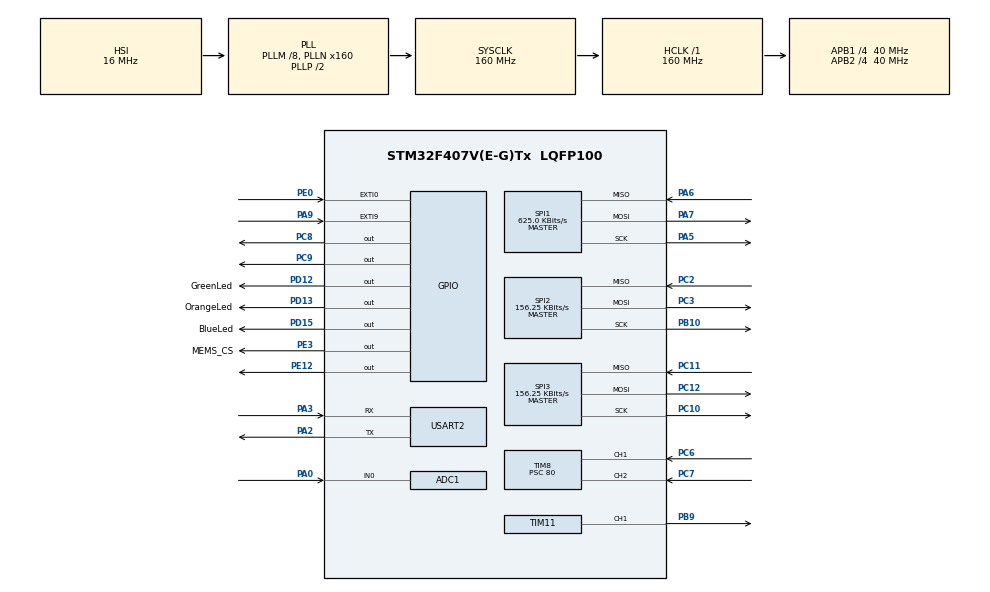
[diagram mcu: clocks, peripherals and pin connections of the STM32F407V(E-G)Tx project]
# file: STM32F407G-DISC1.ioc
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ADC1.Channel-0\#ChannelRegularConversion=ADC_CHANNEL_0
ADC1.NbrOfConversionFlag=1
ADC1.Rank-0\#ChannelRegularConversion=1
ADC1.Resolution=ADC_RESOLUTION_8B
ADC1.SamplingTime-0\#ChannelRegularConversion=ADC_SAMPLETIME_3CYCLES
ADC1.master=1
Mcu.Family=STM32F4
Mcu.Name=STM32F407V(E-G)Tx
Mcu.Package=LQFP100
NVIC.EXTI0_IRQn=true\:0\:0\:false\:false\:true\:true\:true\:true
NVIC.EXTI9_5_IRQn=true\:0\:0\:false\:false\:true\:true\:true\:true
NVIC.PriorityGroup=NVIC_PRIORITYGROUP_0
NVIC.TIM6_DAC_IRQn=true\:0\:0\:false\:false\:true\:true\:true\:true
PA0-WKUP.Signal=ADCx_IN0
PA13.Mode=Serial_Wire
PA13.Signal=SYS_JTMS-SWDIO
PA14.Mode=Serial_Wire
PA14.Signal=SYS_JTCK-SWCLK
PA2.Mode=Asynchronous
PA2.Signal=USART2_TX
PA3.Mode=Asynchronous
PA3.Signal=USART2_RX
PA5.Mode=Full_Duplex_Master
PA5.Signal=SPI1_SCK
PA6.Mode=Full_Duplex_Master
PA6.Signal=SPI1_MISO
PA7.Mode=Full_Duplex_Master
PA7.Signal=SPI1_MOSI
PA9.Signal=GPXTI9
PB10.Mode=Full_Duplex_Master
PB10.Signal=SPI2_SCK
PB9.Signal=S_TIM11_CH1
PC10.Mode=Full_Duplex_Master
PC10.Signal=SPI3_SCK
PC11.Mode=Full_Duplex_Master
PC11.Signal=SPI3_MISO
PC12.Mode=Full_Duplex_Master
PC12.Signal=SPI3_MOSI
PC2.Mode=Full_Duplex_Master
PC2.Signal=SPI2_MISO
PC3.Mode=Full_Duplex_Master
PC3.Signal=SPI2_MOSI
PC6.Signal=S_TIM8_CH1
PC7.Signal=S_TIM8_CH2
PC8.Signal=GPIO_Output
PC9.Signal=GPIO_Output
PD12.GPIO_Label=GreenLed
PD12.Signal=GPIO_Output
PD13.GPIO_Label=OrangeLed
PD13.Signal=GPIO_Output
PD15.GPIO_Label=BlueLed
PD15.Signal=GPIO_Output
PE0.Signal=GPXTI0
PE12.Signal=GPIO_Output
PE3.GPIO_Label=MEMS_CS
PE3.Signal=GPIO_Output
ProjectManager.HeapSize=0x200
ProjectManager.StackSize=0x400
ProjectManager.TargetToolchain=STM32CubeIDE
RCC.48MHZClocksFreq_Value=45714285.71428572
RCC.AHBFreq_Value=160000000
RCC.APB1CLKDivider=RCC_HCLK_DIV4
RCC.APB1Freq_Value=40000000
RCC.APB1TimFreq_Value=80000000
RCC.APB2CLKDivider=RCC_HCLK_DIV4
RCC.APB2Freq_Value=40000000
RCC.APB2TimFreq_Value=80000000
RCC.CortexFreq_Value=160000000
RCC.HCLKFreq_Value=160000000
RCC.HSE_VALUE=8000000
RCC.HSI_VALUE=16000000
RCC.LSE_VALUE=32768
RCC.PLLM=8
RCC.PLLN=160
RCC.PLLQ=7
RCC.SYSCLKFreq_VALUE=160000000
RCC.SYSCLKSource=RCC_SYSCLKSOURCE_PLLCLK
RCC.VCOOutputFreq_Value=320000000
SH.ADCx_IN0.0=ADC1_IN0,IN0
SH.S_TIM11_CH1.0=TIM11_CH1,PWM Generation1 CH1
SH.S_TIM8_CH1.0=TIM8_CH1,Input_Capture1_from_TI1
SH.S_TIM8_CH2.0=TIM8_CH2,Input_Capture2_from_TI2
SH.S_TIM8_CH2.1=TIM8_CH2,TriggerSource_TI2FP2
SPI1.BaudRatePrescaler=SPI_BAUDRATEPRESCALER_64
SPI1.CalculateBaudRate=625.0 KBits/s
SPI1.Direction=SPI_DIRECTION_2LINES
SPI1.Mode=SPI_MODE_MASTER
SPI1.VirtualType=VM_MASTER
SPI2.BaudRatePrescaler=SPI_BAUDRATEPRESCALER_256
SPI2.CLKPhase=SPI_PHASE_2EDGE
SPI2.CalculateBaudRate=156.25 KBits/s
SPI2.Direction=SPI_DIRECTION_2LINES
SPI2.Mode=SPI_MODE_MASTER
SPI2.VirtualType=VM_MASTER
SPI3.BaudRatePrescaler=SPI_BAUDRATEPRESCALER_256
SPI3.CLKPhase=SPI_PHASE_2EDGE
SPI3.CalculateBaudRate=156.25 KBits/s
SPI3.Direction=SPI_DIRECTION_2LINES
SPI3.Mode=SPI_MODE_MASTER
SPI3.VirtualType=VM_MASTER
TIM11.Channel=TIM_CHANNEL_1
TIM11.Period=39999
TIM11.Prescaler=199
TIM6.Period=9999
TIM6.Prescaler=7999
TIM8.Channel-Input_Capture1_from_TI1=TIM_CHANNEL_1
TIM8.Channel-Input_Capture2_from_TI2=TIM_CHANNEL_2
TIM8.ICPolarity_CH1=TIM_INPUTCHANNELPOLARITY_BOTHEDGE
TIM8.ICPolarity_CH2=TIM_INPUTCHANNELPOLARITY_BOTHEDGE
TIM8.Prescaler=80
USART2.VirtualMode=VM_ASYNC
VP_TIM11_VS_ClockSourceINT.Mode=Enable_Timer
VP_TIM6_VS_ClockSourceINT.Mode=Enable_Timer
VP_TIM8_VS_ControllerModeReset.Mode=Reset Mode
board=STM32F407G-DISC1

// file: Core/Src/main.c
/* USER CODE BEGIN Header */
/**
  ******************************************************************************
  * @file           : main.c
  * @brief          : Main program body
  ******************************************************************************
  * @attention
  *
  * Copyright (c) 2025 STMicroelectronics.
  * All rights reserved.
  *
  * This software is licensed under terms that can be found in the LICENSE file
  * in the root directory of this software component.
  * If no LICENSE file comes with this software, it is provided AS-IS.
  *
  ******************************************************************************
  */
/* USER CODE END Header */
#include "main.h"
#include "adc.h"
#include "spi.h"
#include "tim.h"
#include "usart.h"
#include "gpio.h"

/* USER CODE BEGIN Includes */
#include "stdio.h"
#include "DHT.h"
#include "MAX31865.h"
#include "LIS3DSH.h"
/* USER CODE END Includes */

/* USER CODE BEGIN PD */
//#define DHT11_PORT GPIOC
//#define DHT11_PIN GPIO_PIN_9

/* USER CODE END PD */

/* USER CODE BEGIN PV */

uint8_t txData[41];
uint8_t rxData[2];

//HC-SR04
uint32_t echo1, echo2, delay_hcsr04;
float dist1, dist2;
//PT100
Max31865_t  pt100;
bool        pt100isOK;
float       pt100Temp;
uint8_t fault;
uint16_t rtd_raw;

Max31865_t  pt100E;
bool        pt100EisOK;
float       pt100ETemp;
uint8_t faultE;
uint16_t rtd_rawE;

//ACCELEROMETER
LIS3DSH_DataScaled current_acceleration;
float x_transformed;
float y_transformed;
float z_transformed;
float vy;

float alpha = 0.5f;
float filtered_y = 0.0f;
uint32_t timer_current_vy = 0;
uint32_t timer_last_vy = 0;
float dt_vy = 0.0f;

//RPM
extern int RPM_COUNTER;
uint32_t rpm = 0;

// fuel
uint32_t fuel_level;

// distance
uint32_t timer_current = 0;
uint32_t timer_last = 0;
float dt = 0.0f;
float travelled_distance = 0.0f;
/* USER CODE END PV */

void SystemClock_Config(void);

/* USER CODE BEGIN 0 */

float low_pass_filter(float new_sample) {
	filtered_y = alpha * new_sample + (1.0f - alpha) * filtered_y;
    return filtered_y;
}

/* USER CODE END 0 */

int main(void)
{

  /* USER CODE BEGIN 1 */
  LIS3DSH_InitTypeDef accelerometerConfig;
  /* USER CODE END 1 */

  /* MCU Configuration--------------------------------------------------------*/

  /* Reset of all peripherals, Initializes the Flash interface and the Systick. */
  HAL_Init();

  /* Configure the system clock */
  SystemClock_Config();

  /* Initialize all configured peripherals */
  MX_GPIO_Init();
  MX_TIM8_Init();
  MX_TIM11_Init();
  MX_USART2_UART_Init();
  MX_SPI2_Init();
  MX_SPI1_Init();
  MX_TIM6_Init();
  MX_ADC1_Init();
  MX_SPI3_Init();
  /* USER CODE BEGIN 2 */
  HAL_TIM_Base_Start_IT(&htim6);
  HAL_TIM_Base_Start(&htim11);
  HAL_TIM_Base_Start(&htim11);
  HAL_TIM_PWM_Start(&htim11, TIM_CHANNEL_1);
  HAL_TIM_IC_Start(&htim8, TIM_CHANNEL_1);
  HAL_TIM_IC_Start(&htim8, TIM_CHANNEL_2);
  TIM11->CCR1 = 4;

  Max31865_init(&pt100,&hspi2,GPIOC,GPIO_PIN_8,3,50);
  Max31865_init(&pt100E,&hspi3,GPIOE,GPIO_PIN_12,3,50);

  accelerometerConfig.dataRate = LIS3DSH_DATARATE_12_5;
  accelerometerConfig.fullScale = LIS3DSH_FULLSCALE_4;
  accelerometerConfig.antiAliasingBW = LIS3DSH_FILTER_BW_50;
  accelerometerConfig.enableAxes = LIS3DSH_XYZ_ENABLE;
  accelerometerConfig.interruptEnable = false;
  LIS3DSH_Init(&hspi1, &accelerometerConfig);
  LIS3DSH_X_calibrate(-1027, 1061);
  LIS3DSH_Y_calibrate(-999, 990);
  /* USER CODE END 2 */

  /* Infinite loop */
  /* USER CODE BEGIN WHILE */
  while (1)
  {
	// DISTANCE SENSORS
	HAL_GPIO_TogglePin(BlueLed_GPIO_Port, BlueLed_Pin);
	if (HAL_GetTick() - delay_hcsr04 >= 100){ // every 100 ms
		delay_hcsr04 = HAL_GetTick();
		echo1 = HAL_TIM_ReadCapturedValue(&htim8, TIM_CHANNEL_1);
		echo2 = HAL_TIM_ReadCapturedValue(&htim8, TIM_CHANNEL_2);
		dist1 = echo1 / 58.0f;
		dist2 = echo2 / 58.0f;
	}

	float tempIn;
	float tempE;
	HAL_GPIO_TogglePin(GreenLed_GPIO_Port, GreenLed_Pin);

	// PT100 temperature sensor interior
	pt100isOK = Max31865_readTempC(&pt100,&tempIn);
	rtd_raw = Max31865_readRTD(&pt100);
	if (pt100isOK != false){
		pt100Temp = Max31865_Filter(tempIn,pt100Temp,0.1);
	}
	else{
		fault = Max31865_readFault(&pt100);
	}

	// PT100 temperature sensor exterior
	pt100EisOK = Max31865_readTempC(&pt100E,&tempE);
	rtd_rawE = Max31865_readRTD(&pt100E);
	if (pt100EisOK != false){
		pt100ETemp = Max31865_Filter(tempE,pt100ETemp,0.1);
	}
	else{
		faultE = Max31865_readFault(&pt100E);
	}

	// Accelerometer
	if (LIS3DSH_PollDRDY(100)) {
		current_acceleration = LIS3DSH_GetDataScaled();

		y_transformed = current_acceleration.y * 0.00981f;

		if (fabs(y_transformed) < 0.5f) {
			y_transformed = 0.0f;
		}

		low_pass_filter(y_transformed);

		timer_current_vy = HAL_GetTick();

		dt_vy = (timer_current_vy - timer_last_vy) / 1000.0f;

		vy += filtered_y * dt_vy;

		timer_last_vy = timer_current_vy;
	}

	// Fuel level
	HAL_ADC_Start(&hadc1);
	if(HAL_ADC_PollForConversion(&hadc1, 5) == HAL_OK){
		fuel_level = HAL_ADC_GetValue(&hadc1);
	}
	HAL_ADC_Stop(&hadc1);

	// Distance
	timer_current = HAL_GetTick();
	dt = (timer_current - timer_last) / 1000.0f;

	timer_last = timer_current;

	travelled_distance += fabs(vy) * dt;

	snprintf((char*)txData, sizeof(txData), "%.2f,%.2f,%.2f,%.2f,%lu,%.2f,%lu,%.2f\r\n",
    dist1,dist2,pt100Temp,pt100ETemp,rpm,fabs(vy),fuel_level,travelled_distance);
	HAL_UART_Transmit(&huart2, txData, sizeof(txData), 100);
	HAL_UART_Receive(&huart2, rxData, sizeof(rxData), 100);
	HAL_GPIO_TogglePin(OrangeLed_GPIO_Port, OrangeLed_Pin);
	HAL_Delay(100);
    /* USER CODE END WHILE */

  }
}

void SystemClock_Config(void)
{
  RCC_OscInitTypeDef RCC_OscInitStruct = {0};
  RCC_ClkInitTypeDef RCC_ClkInitStruct = {0};

  /** Configure the main internal regulator output voltage
  */
  __HAL_RCC_PWR_CLK_ENABLE();
  __HAL_PWR_VOLTAGESCALING_CONFIG(PWR_REGULATOR_VOLTAGE_SCALE1);

  /** Initializes the RCC Oscillators according to the specified parameters
  * in the RCC_OscInitTypeDef structure.
  */
  RCC_OscInitStruct.OscillatorType = RCC_OSCILLATORTYPE_HSI;
  RCC_OscInitStruct.HSIState = RCC_HSI_ON;
  RCC_OscInitStruct.HSICalibrationValue = RCC_HSICALIBRATION_DEFAULT;
  RCC_OscInitStruct.PLL.PLLState = RCC_PLL_ON;
  RCC_OscInitStruct.PLL.PLLSource = RCC_PLLSOURCE_HSI;
  RCC_OscInitStruct.PLL.PLLM = 8;
  RCC_OscInitStruct.PLL.PLLN = 160;
  RCC_OscInitStruct.PLL.PLLP = RCC_PLLP_DIV2;
  RCC_OscInitStruct.PLL.PLLQ = 7;
  if (HAL_RCC_OscConfig(&RCC_OscInitStruct) != HAL_OK)
  {
    Error_Handler();
  }

  /** Initializes the CPU, AHB and APB buses clocks
  */
  RCC_ClkInitStruct.ClockType = RCC_CLOCKTYPE_HCLK|RCC_CLOCKTYPE_SYSCLK
                              |RCC_CLOCKTYPE_PCLK1|RCC_CLOCKTYPE_PCLK2;
  RCC_ClkInitStruct.SYSCLKSource = RCC_SYSCLKSOURCE_PLLCLK;
  RCC_ClkInitStruct.AHBCLKDivider = RCC_SYSCLK_DIV1;
  RCC_ClkInitStruct.APB1CLKDivider = RCC_HCLK_DIV4;
  RCC_ClkInitStruct.APB2CLKDivider = RCC_HCLK_DIV4;

  if (HAL_RCC_ClockConfig(&RCC_ClkInitStruct, FLASH_LATENCY_5) != HAL_OK)
  {
    Error_Handler();
  }
}

/* USER CODE BEGIN 4 */
// RPM
void HAL_TIM_PeriodElapsedCallback(TIM_HandleTypeDef *htim)
{
    if (htim->Instance == TIM6)
    {
        rpm = RPM_COUNTER * 3; // 60s/20 ranuras = 3
        RPM_COUNTER = 0;
    }
}
/* USER CODE END 4 */

void Error_Handler(void)
{
  __disable_irq();
  while (1)
  {
  }
}
